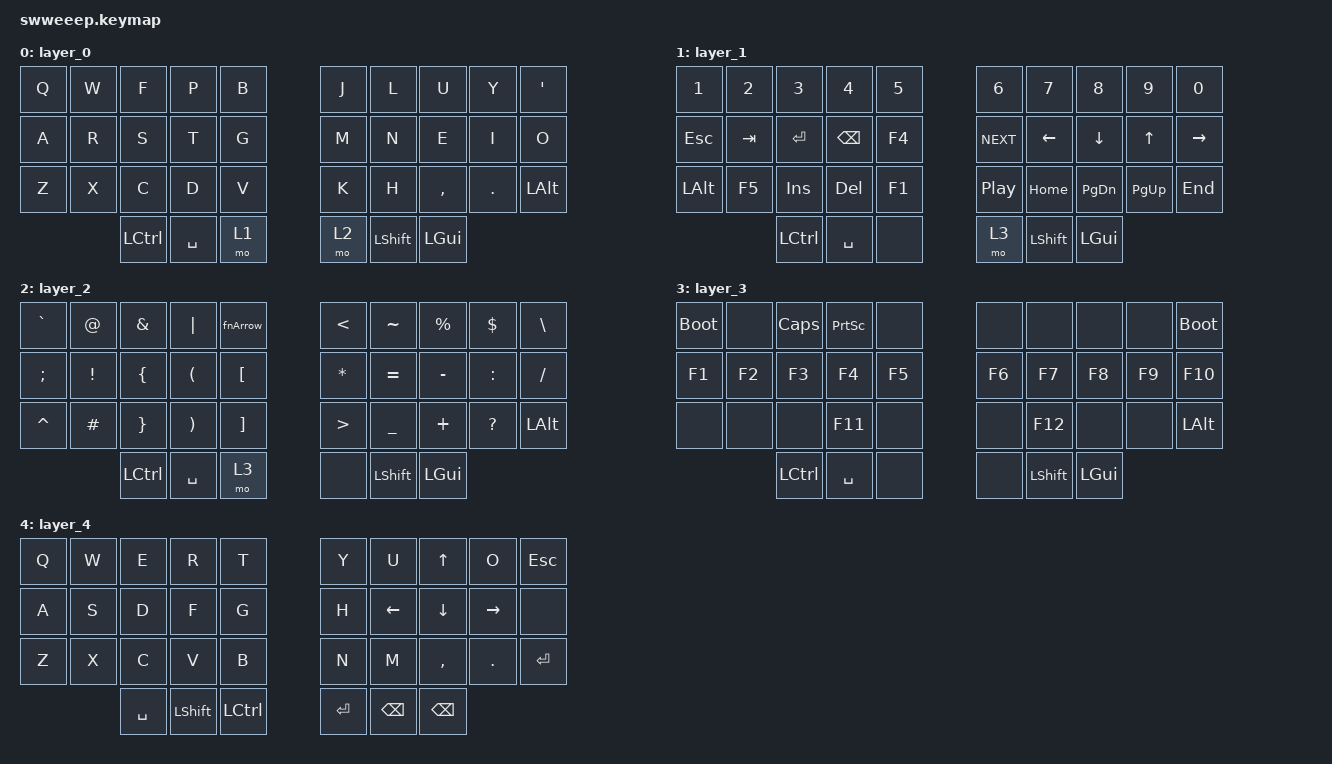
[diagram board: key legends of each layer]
#include <behaviors.dtsi>
#include <dt-bindings/zmk/keys.h>

&sk {
    quick-release;
};

/ {
    combos {
        compatible = "zmk,combos";
        combo_game {
            timeout-ms = <30>;
            key-positions = <5 6>;
            bindings = <&tog 4>;
	    	layers = <3 4>;
        };
        reset_central {
            timeout-ms = <30>;
            key-positions = <5 7>;
            bindings = <&sys_reset>;
            layers = <3 4>;
        };
        bootloader_central {
            timeout-ms = <30>;
            key-positions = <5 8>;
            bindings = <&bootloader>;
            layers = <3>;
        };
    };
};

/ {
    macros {
        fnArrow: fnArrow {
            label = "fnArrow";
            compatible = "zmk,behavior-macro";
            tap-ms = <20>;
            #binding-cells = <0>;
            bindings = <&kp KP_EQUAL &kp GREATER_THAN>;
        };
    };
};

/ {   
	keymap {
		compatible = "zmk,keymap";
		layer_0 {
			bindings = <
	                &kp Q           &kp W           &kp F           &kp P           &kp B                       &kp J           &kp L           &kp U           &kp Y           &kp APOS       
	                &kp A           &kp R           &kp S           &kp T           &kp G                       &kp M           &kp N           &kp E           &kp I           &kp O          
	                &kp Z           &kp X           &kp C           &kp D           &kp V                       &kp K           &kp H           &kp COMMA       &kp DOT         &kp LALT       
	                                                &kp LCTRL       &kp SPACE       &mo 1                       &mo 2           &kp LSHFT       &kp LGUI
			>;
		};   
		layer_1 {
			bindings = <
	                &kp N1          &kp N2          &kp N3          &kp N4          &kp N5                      &kp N6          &kp N7          &kp N8          &kp N9          &kp N0          
			        &kp ESC         &kp TAB		    &kp ENTER       &kp BSPC        &kp F4                      &kp C_NEXT      &kp LEFT        &kp DOWN        &kp UP          &kp RIGHT       
	                &kp LALT        &kp F5          &kp INS         &kp DEL         &kp F1                      &kp C_PP        &kp HOME        &kp PG_DN       &kp PG_UP       &kp END         
	                                                &kp LCTRL       &kp SPACE       &none                       &mo 3           &kp LSHFT       &kp LGUI
	        >;
		};
		layer_2 {
			bindings = <
	                &kp GRAVE       &kp AT          &kp AMPS        &kp PIPE        &fnArrow                    &kp LT          &kp TILDE       &kp PRCNT       &kp DLLR        &kp BSLH         
	                &kp SEMI        &kp EXCL        &kp LBRC        &kp LPAR        &kp LBKT                    &kp ASTRK       &kp EQUAL       &kp MINUS       &kp COLON       &kp FSLH       
	                &kp CARET       &kp HASH        &kp RBRC        &kp RPAR        &kp RBKT                    &kp GT          &kp UNDER       &kp PLUS        &kp QMARK       &kp LALT        
	    	                                        &kp LCTRL       &kp SPACE       &mo 3                       &none           &kp LSHFT       &kp LGUI
	        >;
		};   
		layer_3 {
			bindings = <
	                &bootloader     &none           &kp CAPS        &kp PSCRN       &none                       &none           &none           &none           &none           &bootloader           
	                &kp F1          &kp F2          &kp F3          &kp F4          &kp F5                      &kp F6          &kp F7          &kp F8          &kp F9          &kp F10         
	                &none           &none           &none           &kp F11         &none                       &none           &kp F12         &none           &none           &kp LALT        
	                                                &kp LCTRL       &kp SPACE       &none                       &none           &kp LSHFT       &kp LGUI
	        >;
		};
		layer_4 {
			bindings = <
	                &kp Q           &kp W           &kp E           &kp R           &kp T                       &kp Y           &kp U           &kp UP          &kp O           &kp ESC        
	                &kp A           &kp S           &kp D           &kp F           &kp G                       &kp H           &kp LEFT        &kp DOWN        &kp RIGHT       &none        
	                &kp Z           &kp X           &kp C           &kp V           &kp B                       &kp N           &kp M           &kp COMMA       &kp DOT         &kp ENTER       
	                                                &kp SPACE       &kp LSHFT       &kp LCTRL                   &kp ENTER       &kp BSPC        &kp BSPC
	        >;
	    };

	};
};

//	            &none           &none           &none           &none           &none                       &none           &none           &none           &none           &none          
//	            &none           &none           &none           &none           &none                       &none           &none           &none           &none           &none          
//	            &none           &none           &none           &none           &none                       &none           &none           &none           &none           &none          
//	                                            &none           &none           &none                       &none           &none           &none          


//	        0               1               2               3               4                           5               6               7               8               9               
//              10              11              12              13              14                          15              16              17              18              19              
//              20              21              22              23              24                          25              26              27              28              29          
//                                              30              31              32                          33              34              35
